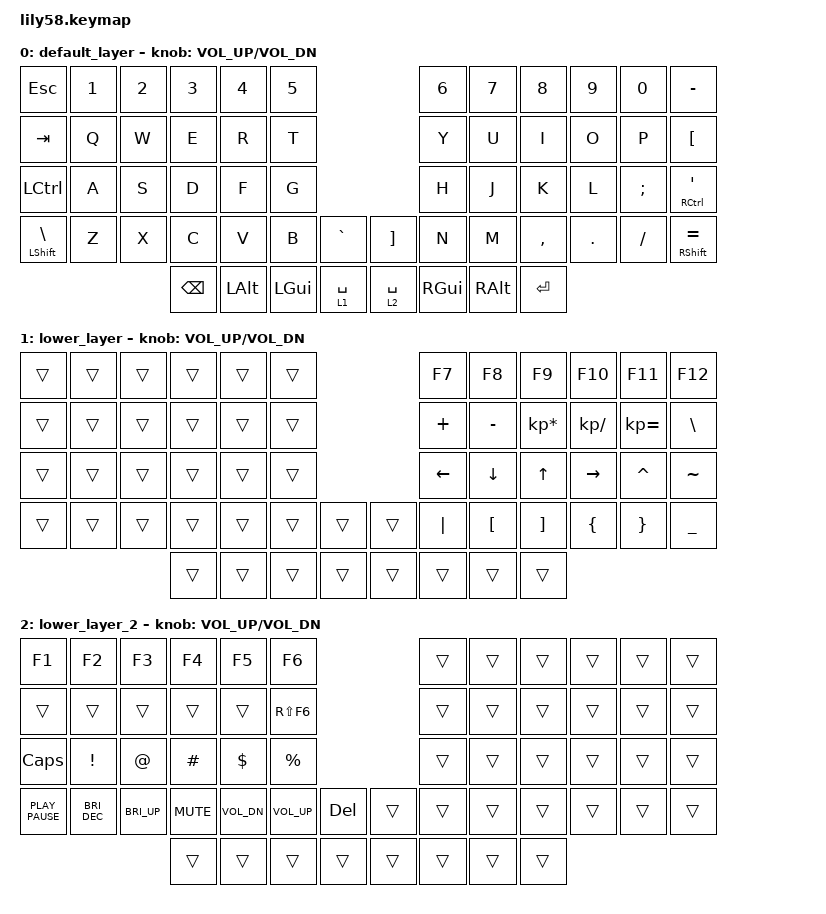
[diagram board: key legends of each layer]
/*
 * Copyright (c) 2020 The ZMK Contributors
 *
 * SPDX-License-Identifier: MIT
 */

#include <behaviors.dtsi>
#include <dt-bindings/zmk/keys.h>

/ {
    keymap {
        compatible = "zmk,keymap";

        default_layer {
            // ------------------------------------------------------------------------------------------------------------
            // |  ESC  |  1  |  2  |  3   |  4   |  5   |                   |  6   |  7    |  8    |  9   |   0   |   `   |
            // |  TAB  |  Q  |  W  |  E   |  R   |  T   |                   |  Y   |  U    |  I    |  O   |   P   |   -   |
            // |  CTRL |  A  |  S  |  D   |  F   |  G   |                   |  H   |  J    |  K    |  L   |   ;   |   '   |
            // | SHIFT |  Z  |  X  |  C   |  V   |  B   |   "["  |  |  "]"  |  N   |  M    |  ,    |  .   |   /   | SHIFT |
            //                     | ALT  | GUI  | LOWER|  SPACE |  | ENTER | RAISE| BSPC  | GUI   |

            bindings = <
&kp ESC                   &kp N1  &kp N2  &kp N3         &kp N4        &kp N5                                          &kp N6         &kp N7         &kp N8     &kp N9   &kp N0         &kp MINUS
&kp TAB                   &kp Q   &kp W   &kp E          &kp R         &kp T                                           &kp Y          &kp U          &kp I      &kp O    &kp P          &kp LBKT
&kp LEFT_CONTROL          &kp A   &kp S   &kp D          &kp F         &kp G                                           &kp H          &kp J          &kp K      &kp L    &kp SEMICOLON  &mt RIGHT_CONTROL SQT
&mt LEFT_SHIFT BACKSLASH  &kp Z   &kp X   &kp C          &kp V         &kp B         &kp GRAVE      &kp RIGHT_BRACKET  &kp N          &kp M          &kp COMMA  &kp DOT  &kp FSLH       &mt RIGHT_SHIFT EQUAL
                                          &kp BACKSPACE  &kp LEFT_ALT  &kp LEFT_GUI  &lt 1 SPACE    &lt 2 SPACE        &kp RIGHT_GUI  &kp RIGHT_ALT  &kp RET
            >;

            sensor-bindings = <&inc_dec_kp C_VOL_UP C_VOL_DN>;
        };

        lower_layer {
            // --------------------------------------------------------------------------------------------------------------
            // | LPAD  | BRDn | BRUp |  MUT |  Vo- |  Vo+ |                   |      |       |       |      |       |       |
            // |  F1   |  F2  |  F3  |  F4  |  F5  |  F6  |                   |  F7  |  F8   |  F9   |  F10 |  F11  |  F12  |
            // |   `   |  !   |  @   |  #   |  $   |  %   |                   |  ^   |  &    |  *    |  (   |   )   |   ~   |
            // |       |      |      |      |      |      |        |  |       |      |  _    |  +    |  {   |   }   |  "|"  |
            //                       |      |      |      |        |  |       |      |       |       |

            bindings = <
&trans  &trans  &trans  &trans  &trans  &trans                    &kp F7          &kp F8            &kp F9             &kp F10          &kp F11       &kp F12
&trans  &trans  &trans  &trans  &trans  &trans                    &kp PLUS        &kp MINUS         &kp KP_MULTIPLY    &kp KP_DIVIDE    &kp KP_EQUAL  &kp BACKSLASH
&trans  &trans  &trans  &trans  &trans  &trans                    &kp LEFT_ARROW  &kp DOWN_ARROW    &kp UP_ARROW       &kp RIGHT_ARROW  &kp CARET     &kp TILDE
&trans  &trans  &trans  &trans  &trans  &trans  &trans    &trans  &kp PIPE        &kp LEFT_BRACKET  &kp RIGHT_BRACKET  &kp LBRC         &kp RBRC      &kp UNDERSCORE
                        &trans  &trans  &trans  &trans    &trans  &trans          &trans            &trans
            >;

            sensor-bindings = <&inc_dec_kp C_VOL_UP C_VOL_DN>;
        };

        lower_layer_2 {
            bindings = <
&kp F1            &kp F2         &kp F3        &kp F4      &kp F5        &kp F6                           &trans  &trans  &trans  &trans  &trans  &trans
&trans            &trans         &trans        &trans      &trans        &kp RS(F6)                       &trans  &trans  &trans  &trans  &trans  &trans
&kp CAPSLOCK      &kp EXCL       &kp AT        &kp HASH    &kp DOLLAR    &kp PRCNT                        &trans  &trans  &trans  &trans  &trans  &trans
&kp K_PLAY_PAUSE  &kp C_BRI_DEC  &kp C_BRI_UP  &kp C_MUTE  &kp C_VOL_DN  &kp C_VOL_UP  &kp DEL    &trans  &trans  &trans  &trans  &trans  &trans  &trans
                                               &trans      &trans        &trans        &trans     &trans  &trans  &trans  &trans
            >;

            sensor-bindings = <&inc_dec_kp C_VOL_UP C_VOL_DN>;
        };
    };
};
